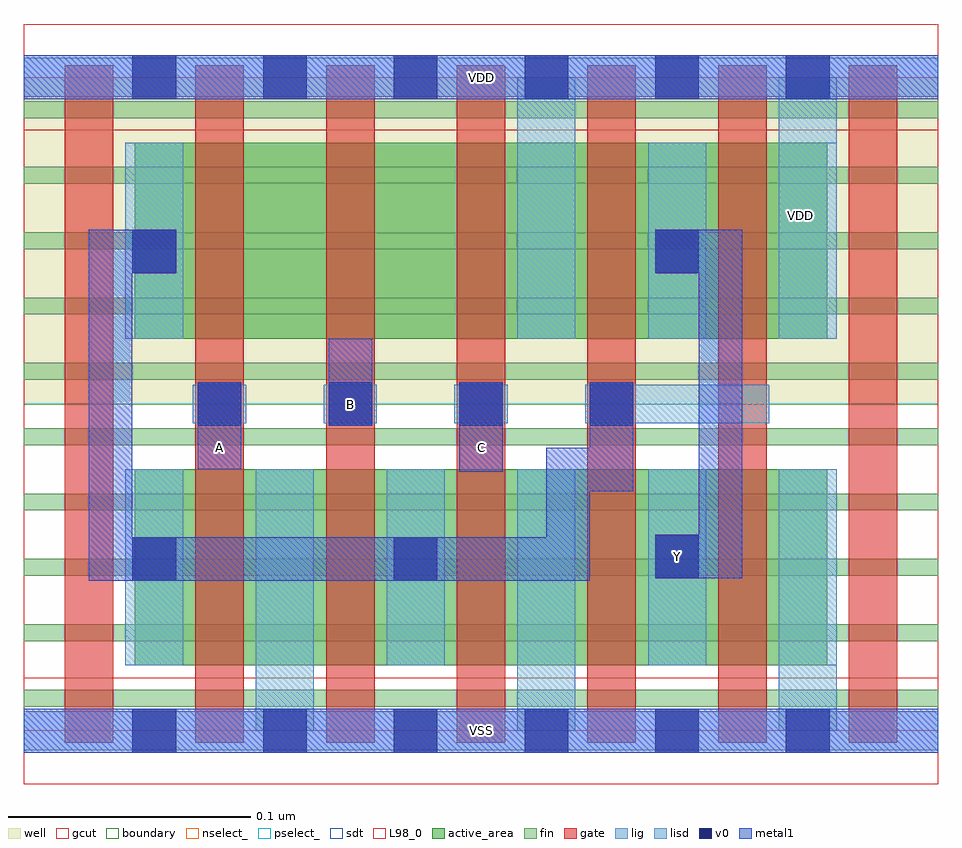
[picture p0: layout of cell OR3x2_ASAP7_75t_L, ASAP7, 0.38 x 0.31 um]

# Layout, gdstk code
import gdstk
lib = gdstk.Library(unit=1e-6, precision=2.5e-10)
def R(c, l, rs):  # rectangles x0, y0, x1, y1
    for r in rs: c.add(gdstk.rectangle(r[:2], r[2:], *l))
def A(c, l, x, y, w, h, nx, ny, dx, dy):  # array of equal rectangles
    R(c, l, [(x+i*dx, y+j*dy, x+i*dx+w, y+j*dy+h) for i in range(nx) for j in range(ny)])
def P(c, l, *ps):  # polygons
    for p in ps: c.add(gdstk.Polygon(p, *l))
well = (1, 0)
fin = (2, 0)
gate = (7, 0)
gcut = (10, 0)
active_area = (11, 0)
nselect_ = (12, 0)
pselect_ = (13, 0)
lig = (16, 0)
lisd = (17, 0)
v0 = (18, 0)
metal1 = (19, 0)
sdt = (88, 0)
L98_0 = (98, 0)
boundary = (100, 0)

or3x2_asap7_75t_l = lib.new_cell('OR3x2_ASAP7_75t_L')
R(or3x2_asap7_75t_l, well, [(0,0.135,0.378,0.27)])
A(or3x2_asap7_75t_l, fin, 0, 0.01, 0.378, 0.007, 1, 10, 0, 0.027)
A(or3x2_asap7_75t_l, gate, 0.017, -0.005, 0.02, 0.28, 7, 1, 0.054, 0)
R(or3x2_asap7_75t_l, gcut, [(0,-0.022,0.378,0.022), (0,0.248,0.378,0.292)])
R(or3x2_asap7_75t_l, active_area, [(0.046,0.027,0.332,0.108), (0.046,0.162,0.332,0.243)])
R(or3x2_asap7_75t_l, nselect_, [(0,0,0.378,0.135)])
R(or3x2_asap7_75t_l, pselect_, [(0,0.135,0.378,0.27)])
A(or3x2_asap7_75t_l, lig, 0.07, 0.127, 0.022, 0.016, 3, 1, 0.054, 0)
R(or3x2_asap7_75t_l, lig, [(0,-0.008,0.378,0.008), (0.232,0.127,0.308,0.143), (0,0.262,0.378,0.278)])
A(or3x2_asap7_75t_l, lisd, 0.096, 0, 0.024, 0.108, 3, 1, 0.108, 0)
A(or3x2_asap7_75t_l, lisd, 0.042, 0.027, 0.024, 0.081, 3, 1, 0.108, 0)
R(or3x2_asap7_75t_l, lisd, [(0.042,0.162,0.066,0.243), (0.204,0.162,0.228,0.27), (0.258,0.162,0.282,0.243), (0.312,0.162,0.336,0.27)])
A(or3x2_asap7_75t_l, v0, 0.045, -0.009, 0.018, 0.018, 6, 2, 0.054, 0.27)
A(or3x2_asap7_75t_l, v0, 0.072, 0.126, 0.018, 0.018, 4, 1, 0.054, 0)
R(or3x2_asap7_75t_l, v0, [(0.045,0.062,0.063,0.08), (0.153,0.062,0.171,0.08), (0.261,0.063,0.279,0.081), (0.045,0.189,0.063,0.207), (0.261,0.189,0.279,0.207)])
R(or3x2_asap7_75t_l, metal1, [(0,-0.009,0.378,0.009), (0.18,0.107,0.198,0.144), (0.072,0.108,0.09,0.144), (0.126,0.126,0.144,0.162), (0,0.261,0.378,0.279)])
P(or3x2_asap7_75t_l, metal1, [(0.261,0.063),(0.261,0.081),(0.279,0.081),(0.279,0.189),(0.261,0.189),(0.261,0.207),(0.297,0.207),(0.297,0.063)],
  [(0.027,0.062),(0.027,0.207),(0.063,0.207),(0.063,0.189),(0.045,0.189),(0.045,0.08),(0.216,0.08),(0.216,0.117),(0.234,0.117),(0.234,0.144),(0.252,0.144),(0.252,0.099),(0.234,0.099),(0.234,0.062)])
A(or3x2_asap7_75t_l, sdt, 0.042, 0.027, 0.024, 0.081, 6, 1, 0.054, 0)
A(or3x2_asap7_75t_l, sdt, 0.204, 0.162, 0.024, 0.081, 3, 1, 0.054, 0)
R(or3x2_asap7_75t_l, sdt, [(0.042,0.162,0.066,0.243)])
R(or3x2_asap7_75t_l, L98_0, [(0,0,0.378,0.27)])
R(or3x2_asap7_75t_l, boundary, [(0,0,0.378,0.27)])
or3x2_asap7_75t_l.add(gdstk.Label('B', (0.135,0.135), layer=19, texttype=251))
or3x2_asap7_75t_l.add(gdstk.Label('A', (0.081,0.117), layer=19, texttype=251))
or3x2_asap7_75t_l.add(gdstk.Label('C', (0.189,0.117), layer=19, texttype=251))
or3x2_asap7_75t_l.add(gdstk.Label('Y', (0.27,0.072), layer=19, texttype=251))
or3x2_asap7_75t_l.add(gdstk.Label('VSS', (0.189,0), layer=19, texttype=251))
or3x2_asap7_75t_l.add(gdstk.Label('VDD', (0.189,0.27), layer=19, texttype=251))
or3x2_asap7_75t_l.add(gdstk.Label('VDD', (0.321,0.213), layer=1, texttype=251))
or3x2_asap7_75t_l.add(gdstk.Label('VSS', (0.435,0.213), layer=3, texttype=251))

lib.write_gds('OR3x2_ASAP7_75t_L.gds')
